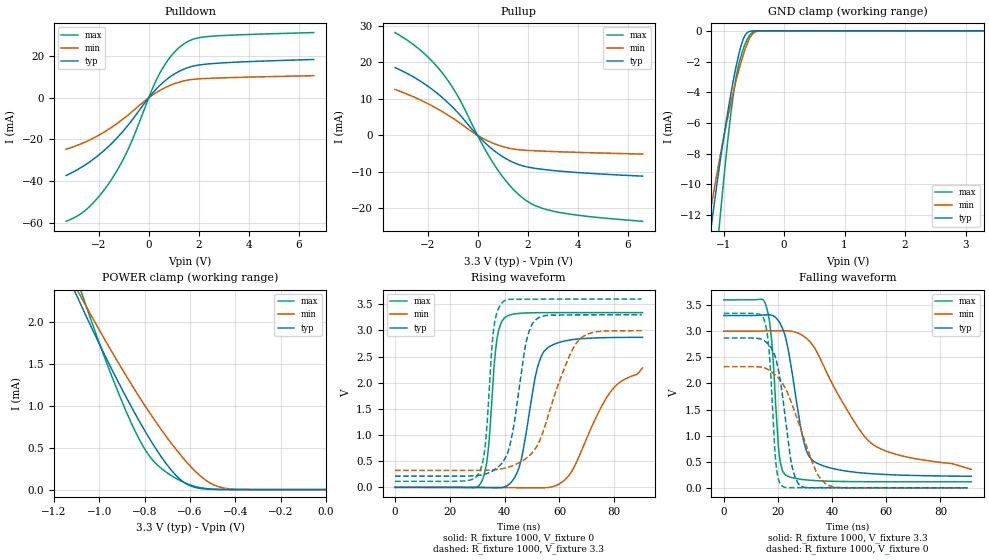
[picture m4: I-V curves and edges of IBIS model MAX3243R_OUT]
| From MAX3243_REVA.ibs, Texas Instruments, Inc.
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[Model]   MAX3243R_OUT
Model_type  3-state
Enable   Active-High
Vref =   0.0
Rref =   3000
Cref =   150p
Vmeas =   1.5
| variable   typ   min   max
C_comp   2.23pF   1.86pF   2.43pF
| C_pullup   2.87pF   2.10pF   4.07pF
| C_pulldown   3.15pF   2.18pF   4.52pF
| C_tri-state   2.23pF   1.86pF   2.43pF
[Temperature Range]   40   100   -40
| Ambient temperature   25   85   -40
[Voltage range]   3.3   3   3.6
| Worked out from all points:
|   slope of the pulldown table from 0 to 0.495 V, typ, clamps not added: 75.9 ohm
|   slope of the pullup table from 0 to 0.495 V, typ, clamps not added: 152 ohm
|   GND clamp passes 1 mA (typ) near -0.71 V on its own axis
|   POWER clamp passes 1 mA (typ) near -0.86 V on its own axis
|   rising waveform, R_fixture 1000, V_fixture 0: 20-80 % time 5.78ns typ, 12.6ns min, 2.89ns max; typ from 0 V to 2.87 V
|   falling waveform, R_fixture 1000, V_fixture 3.3: 20-80 % time 6.14ns typ, 18.2ns min, 2.63ns max; typ from 3.3 V to 0.222 V
|   rising waveform, R_fixture 1000, V_fixture 3.3: 20-80 % time 5.47ns typ, 10.7ns min, 2.8ns max; typ from 0.215 V to 3.3 V
|   falling waveform, R_fixture 1000, V_fixture 0: 20-80 % time 4.6ns typ, 9.67ns min, 2.28ns max; typ from 2.87 V to 0 V
[GND Clamp]
| MAX3243R_OUT_33
|   Voltage   I(typ)   I(min)   I(max)
-3.3V     -112.7mA   -87.54mA   -165.5mA
-1.28V    -15.19mA   -13.29mA   -22.6mA
-1.245V   -14.07mA   -12.44mA   -20.85mA
-1.195V   -12.52mA   -11.25mA   -18.42mA
-1.085V   -9.312mA   -8.783mA   -13.38mA
-1.055V   -8.486mA   -8.141mA   -12.09mA
-910mV    -4.823mA   -5.262mA   -6.45mA
-815mV    -2.767mA   -3.604mA   -3.55mA
-695mV    -781.3uA   -1.837mA   -1.438mA
-590mV    -70.41uA   -662uA     -427.4uA
-395mV    -103.5nA   -6.484uA   -967.5nA
3.3V      6.8pA      195.1nA    6.312pA
[POWER Clamp]
| MAX3243R_OUT_33
|   Voltage   I(typ)   I(min)   I(max)
-3.3V     21.3mA     17.42mA    29.07mA
-1.11V    2.383mA    2.45mA     2.613mA
-1.075V   2.175mA    2.275mA    2.33mA
-940mV    1.413mA    1.627mA    1.322mA
-860mV    997.5uA    1.265mA    804uA
-795mV    685.2uA    988.4uA    466.1uA
-725mV    385.5uA    710.4uA    249.9uA
-670mV    193.6uA    509.9uA    147uA
-615mV    67.26uA    329.2uA    72.73uA
-490mV    2.211uA    49.99uA    4.226uA
-390mV    113.1nA    3.133uA    131.3nA
-48.03fV  6.8pA      37.29pA    7.219pA
[Pulldown]
| MAX3243R_OUT_33
|   Voltage   I(typ)   I(min)   I(max)
-3.3V     -37.35mA   -24.71mA   -59.38mA
-2.41V    -31.22mA   -20.55mA   -52.79mA
-1.945V   -26.98mA   -17.62mA   -46.77mA
-1.49V    -22.02mA   -14.21mA   -39.29mA
-790mV    -12.63mA   -7.934mA   -23.9mA
105mV     1.553mA    924uA      3.189mA
405mV     5.483mA    3.267mA    10.97mA
845mV     9.985mA    5.942mA    19.36mA
1.325V    13.36mA    7.893mA    25.21mA
1.77V     15.21mA    8.872mA    28.15mA
2.345V    16.25mA    9.321mA    29.43mA
6.6V      18.42mA    10.64mA    31.37mA
[Pullup]
| MAX3243R_OUT_33
|   Voltage   I(typ)   I(min)   I(max)
-3.3V     18.59mA    12.58mA    28.2mA
-2.245V   14.69mA    9.568mA    23.13mA
-1.79V    12.49mA    7.978mA    20.15mA
-1.375V   10.15mA    6.357mA    16.82mA
-760mV    6.019mA    3.628mA    10.43mA
130mV     -924.9uA   -518.6uA   -1.72mA
660mV     -4.185mA   -2.269mA   -7.977mA
1.255V    -6.853mA   -3.532mA   -13.52mA
1.84V     -8.438mA   -4.072mA   -17.38mA
2.415V    -9.176mA   -4.283mA   -19.61mA
3.215V    -9.787mA   -4.504mA   -21.09mA
6.6V      -11.21mA   -5.144mA   -23.6mA
[Ramp]
| MAX3243R_OUT_33
| variable   typ   min   max
dV/dt_r   1.73/6.06E-09   1.32/1.19E-08   2.01/2.99E-09
dV/dt_f   1.85/6.38E-09   1.54/1.72E-08   2.10/2.70E-09
R_load = 1000
[Rising Waveform]
| MAX3243R_OUT_33
R_fixture =   1000
C_fixture =   0
L_fixture =   0
V_fixture =   0
V_fixture_min = 0
V_fixture_max = 0
|   Time   V(typ)   V(min)   V(max)
0s        -701.7nV   -1.386uV   -227.6nV
31.14ns   -3.563mV   -361.1uV   69.01mV
33.82ns   -6.895mV   -986.9uV   621.4mV
37.23ns   -9.116mV   -2.406mV   2.843V
40.32ns   17.08mV    -4.651mV   3.259V
45.51ns   419.9mV    -7.296mV   3.329V
54.5ns    2.607V     -8.048mV   3.341V
62.93ns   2.81V      194.7mV    3.342V
78.3ns    2.865V     1.805V     3.342V
90.32ns   2.869V     2.285V     3.342V
[Falling Waveform]
| MAX3243R_OUT_33
R_fixture =   1000
C_fixture =   0
L_fixture =   0
V_fixture =   3.3
V_fixture_min = 3
V_fixture_max = 3.6
|   Time   V(typ)   V(min)   V(max)
0s        3.3V       3V         3.6V
15.51ns   3.313V     3.006V     3.506V
17.75ns   3.305V     3.009V     2.77V
20.47ns   3.179V     3.01V      638mV
22.83ns   2.874V     3.01V      244.1mV
29.17ns   966.5mV    2.915V     159.7mV
33.27ns   506.9mV    2.7V       140.7mV
45.45ns   319.4mV    1.498V     120.9mV
54.67ns   270.9mV    847.2mV    117.2mV
91.43ns   222.5mV    353.1mV    115.3mV
[Rising Waveform]
| MAX3243R_OUT_33
R_fixture =   1000
C_fixture =   0
L_fixture =   0
V_fixture =   3.3
V_fixture_min = 3
V_fixture_max = 3.6
|   Time   V(typ)   V(min)   V(max)
0s        215.4mV    323.9mV    115.2mV
30.33ns   228.5mV    324.3mV    242.4mV
32.88ns   253.9mV    327.1mV    783.3mV
36.2ns    333.1mV    336.9mV    3.101V
39.69ns   512.9mV    363.1mV    3.56V
42.88ns   1.044V     412.9mV    3.597V
47.94ns   2.797V     560.3mV    3.599V
51.31ns   3.201V     749.5mV    3.599V
66.84ns   3.298V     2.801V     3.6V
90ns      3.3V       2.997V     3.6V
[Falling Waveform]
| MAX3243R_OUT_33
R_fixture =   1000
C_fixture =   0
L_fixture =   0
V_fixture =   0
V_fixture_min = 0
V_fixture_max = 0
|   Time   V(typ)   V(min)   V(max)
0s        2.87V      2.321V     3.342V
14.96ns   2.818V     2.298V     3.207V
16.77ns   2.733V     2.253V     2.611V
19.36ns   2.447V     2.146V     420mV
21.83ns   1.707V     1.988V     24.81mV
25.31ns   390.5mV    1.585V     2.975mV
29.2ns    18.41mV    1.005V     1.906mV
34.52ns   3.755mV    271.2mV    1.04mV
39.45ns   2.762mV    33.94mV    593.4uV
90ns      148.3uV    927.8uV    3.623uV
